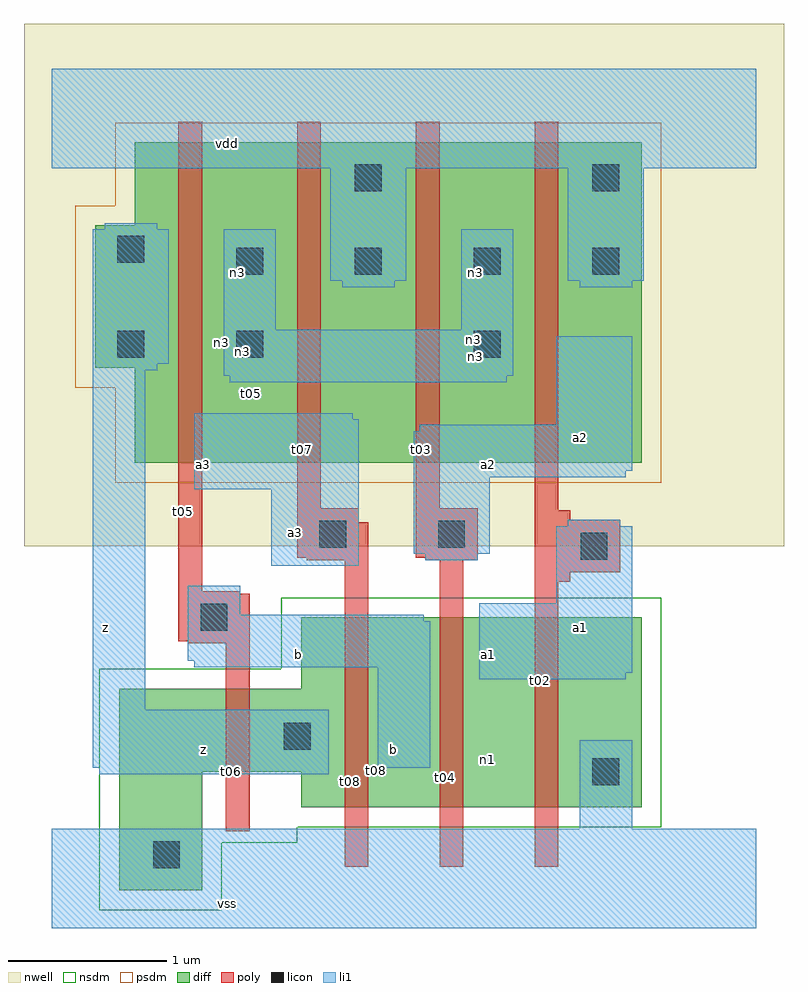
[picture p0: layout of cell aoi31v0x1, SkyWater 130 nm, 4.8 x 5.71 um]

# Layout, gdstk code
import gdstk
lib = gdstk.Library(unit=1e-6, precision=5e-09)
def R(c, l, rs):  # rectangles x0, y0, x1, y1
    for r in rs: c.add(gdstk.rectangle(r[:2], r[2:], *l))
def A(c, l, x, y, w, h, nx, ny, dx, dy):  # array of equal rectangles
    R(c, l, [(x+i*dx, y+j*dy, x+i*dx+w, y+j*dy+h) for i in range(nx) for j in range(ny)])
nwell = (64, 20)
diff = (65, 20)
poly = (66, 20)
licon = (66, 44)
li1 = (67, 20)
nsdm = (93, 44)
psdm = (94, 20)

aoi31v0x1 = lib.new_cell('aoi31v0x1')
R(aoi31v0x1, nwell, [(-0.3,2.4,4.5,5.7)])
R(aoi31v0x1, diff, [(0.3,0.225,0.825,1.5), (1.45,0.75,3.6,1.95), (0.3,0.975,3.6,1.5), (0.4,2.925,3.6,4.95), (0.15,3.525,3.6,4.425)])
R(aoi31v0x1, poly, [(1.725,0.375,1.875,2.55), (2.325,0.375,2.475,2.64), (2.925,0.375,3.075,5.08), (0.975,0.6,1.125,2.1), (0.735,1.785,1.125,2.1), (0.735,1.785,1.065,2.115), (0.675,1.8,1.065,2.115), (0.675,1.8,1.125,2.1), (0.675,1.8,0.825,5.08), (2.925,2.175,3.15,2.625), (2.925,2.235,3.465,2.565), (1.485,2.31,1.815,2.64), (1.485,2.31,1.875,2.55), (2.235,2.31,2.565,2.64), (1.425,2.325,1.815,2.64), (1.425,2.325,1.815,2.64), (1.425,2.325,1.875,2.55), (1.425,2.325,1.575,5.08), (2.175,2.325,2.565,2.64), (2.175,2.325,2.565,2.64), (2.175,2.325,2.325,5.08), (2.175,2.325,2.475,2.64)])
A(aoi31v0x1, licon, 1.04, 4.115, 0.17, 0.17, 4, 1, 0.75, 0)
R(aoi31v0x1, licon, [(0.515,0.365,0.685,0.535), (3.29,0.89,3.46,1.06), (1.34,1.115,1.51,1.285), (0.815,1.865,0.985,2.035), (3.215,2.315,3.385,2.485), (1.565,2.39,1.735,2.56), (2.315,2.39,2.485,2.56), (0.29,3.59,0.46,3.76), (1.04,3.59,1.21,3.76), (2.54,3.59,2.71,3.76), (0.29,4.19,0.46,4.36), (1.79,4.64,1.96,4.81), (3.29,4.64,3.46,4.81)])
R(aoi31v0x1, li1, [(-0.125,-0.015,4.325,0.615), (-0.125,-0.015,4.325,0.615), (3.21,-0.015,3.54,1.175), (0.175,0.96,0.465,4.4), (0.175,0.96,1.625,1.365), (0.21,0.96,0.465,4.44), (0.135,1,0.465,4.4), (0.135,1,1.625,1.365), (1.935,1,2.265,1.925), (1.935,1,2.225,1.965), (0.775,1.035,1.025,1.365), (1.975,1.035,2.225,1.365), (0.135,1.075,0.465,4.325), (2.575,1.56,3.5,2.04), (3.06,1.56,3.5,2.525), (3.135,1.56,3.465,2.565), (2.575,1.6,3.54,2.04), (2.575,1.6,3.54,2.04), (3.06,1.6,3.54,2.525), (0.775,1.635,1.065,2.15), (0.775,1.635,2.265,1.925), (0.775,1.635,2.225,1.965), (1.375,1.635,1.625,1.965), (2.575,1.635,2.825,1.965), (0.735,1.675,1.065,2.15), (0.735,1.675,2.265,1.925), (0.735,1.675,2.225,1.965), (3.135,1.675,3.465,2.525), (1.26,2.275,1.775,3.24), (1.26,2.275,1.815,3.2), (1.335,2.275,1.665,3.125), (2.235,2.31,2.565,3.165), (2.16,2.35,2.64,3.125), (2.2,2.35,2.64,3.165), (0.775,2.76,1.815,3.2), (0.775,2.76,1.775,3.24), (0.775,2.835,1.025,3.165), (2.16,2.835,3.5,3.125), (2.2,2.835,3.5,3.165), (2.575,2.835,2.825,3.165), (3.06,2.835,3.5,3.725), (2.16,2.875,3.54,3.125), (2.2,2.875,3.54,3.165), (3.06,2.875,3.54,3.725), (3.135,2.875,3.465,3.725), (1,3.435,1.29,4.4), (1,3.435,2.75,3.765), (2.46,3.435,2.75,4.4), (0.96,3.475,1.29,4.4), (0.96,3.475,2.79,3.765), (2.46,3.475,2.79,4.4), (0.135,3.51,0.54,4.4), (0.21,3.51,0.54,4.44), (0.135,3.55,0.615,4.4), (1.71,4.035,2.04,5.415), (3.21,4.035,3.54,5.415), (1.635,4.075,2.115,5.415), (3.135,4.075,3.615,5.415), (-0.125,4.785,4.325,5.415), (-0.125,4.785,4.325,5.415)])
R(aoi31v0x1, nsdm, [(0.175,0.1,0.95,1.625), (0.3,0.225,0.75,1.5), (0.3,0.225,0.75,1.5), (0.375,0.225,0.825,1.5), (0.375,0.225,0.825,1.5), (0.455,0.305,0.745,0.595), (0.175,0.525,1.425,1.625), (0.175,0.625,3.725,1.625), (1.325,0.625,3.725,2.075), (1.95,0.75,2.25,1.95), (1.95,0.75,2.25,1.95), (2.55,0.75,2.85,1.95), (2.55,0.75,2.85,1.95), (3.15,0.75,3.6,1.95), (3.15,0.75,3.6,1.95), (3.23,0.83,3.52,1.12), (1.275,0.975,1.575,1.5), (1.275,0.975,1.575,1.5), (1.28,1.055,1.57,1.345)])
A(aoi31v0x1, psdm, 0.98, 4.055, 0.29, 0.29, 4, 1, 0.75, 0)
R(aoi31v0x1, psdm, [(0.275,2.8,3.725,5.075), (0.975,2.925,1.275,4.95), (0.975,2.925,1.275,4.95), (1.725,2.925,2.025,4.95), (1.725,2.925,2.025,4.95), (2.475,2.925,2.775,4.95), (2.475,2.925,2.775,4.95), (3.15,2.925,3.6,4.95), (3.15,2.925,3.6,4.95), (0.025,3.4,3.725,4.55), (0.15,3.525,0.6,4.425), (0.15,3.525,0.6,4.425), (0.23,3.53,0.52,3.82), (0.98,3.53,1.27,3.82), (2.48,3.53,2.77,3.82), (0.23,4.13,0.52,4.42), (1.73,4.58,2.02,4.87), (3.23,4.58,3.52,4.87)])
aoi31v0x1.add(gdstk.Label('t08', (1.925,0.985), layer=93, texttype=44))
aoi31v0x1.add(gdstk.Label('t05', (1.135,3.365), layer=94, texttype=20))
aoi31v0x1.add(gdstk.Label('n3', (0.95,3.685), layer=94, texttype=20))
aoi31v0x1.add(gdstk.Label('t08', (1.985,1.05), layer=65, texttype=20))
aoi31v0x1.add(gdstk.Label('t05', (1.2,3.43), layer=65, texttype=20))
aoi31v0x1.add(gdstk.Label('n3', (1.01,3.75), layer=65, texttype=20))
aoi31v0x1.add(gdstk.Label('n1', (2.625,1.05), layer=93, texttype=44))
aoi31v0x1.add(gdstk.Label('n2', (2.025,1.05), layer=93, texttype=44))
aoi31v0x1.add(gdstk.Label('n3', (2.55,4.125), layer=94, texttype=20))
aoi31v0x1.add(gdstk.Label('n3', (2.55,3.6), layer=94, texttype=20))
aoi31v0x1.add(gdstk.Label('n3', (1.05,4.125), layer=94, texttype=20))
aoi31v0x1.add(gdstk.Label('n3', (1.05,3.6), layer=94, texttype=20))
aoi31v0x1.add(gdstk.Label('t06', (1.01,0.975), layer=66, texttype=20))
aoi31v0x1.add(gdstk.Label('t05', (0.71,2.62), layer=66, texttype=20))
aoi31v0x1.add(gdstk.Label('t08', (1.76,0.915), layer=66, texttype=20))
aoi31v0x1.add(gdstk.Label('t07', (1.46,3.01), layer=66, texttype=20))
aoi31v0x1.add(gdstk.Label('t04', (2.36,0.94), layer=66, texttype=20))
aoi31v0x1.add(gdstk.Label('t03', (2.21,3.01), layer=66, texttype=20))
aoi31v0x1.add(gdstk.Label('t02', (2.96,1.55), layer=66, texttype=20))
aoi31v0x1.add(gdstk.Label('n3', (2.58,4.155), layer=66, texttype=44))
aoi31v0x1.add(gdstk.Label('n3', (2.58,3.63), layer=66, texttype=44))
aoi31v0x1.add(gdstk.Label('n3', (1.08,4.155), layer=66, texttype=44))
aoi31v0x1.add(gdstk.Label('n3', (1.08,3.63), layer=66, texttype=44))
aoi31v0x1.add(gdstk.Label('z', (0.215,1.885), layer=67, texttype=20))
aoi31v0x1.add(gdstk.Label('z', (0.835,1.115), layer=67, texttype=20))
aoi31v0x1.add(gdstk.Label('a3', (0.835,2.915), layer=67, texttype=20))
aoi31v0x1.add(gdstk.Label('n3', (1.04,3.705), layer=67, texttype=20))
aoi31v0x1.add(gdstk.Label('b', (2.035,1.115), layer=67, texttype=20))
aoi31v0x1.add(gdstk.Label('b', (1.435,1.715), layer=67, texttype=20))
aoi31v0x1.add(gdstk.Label('a3', (1.415,2.485), layer=67, texttype=20))
aoi31v0x1.add(gdstk.Label('a1', (2.635,1.715), layer=67, texttype=20))
aoi31v0x1.add(gdstk.Label('a2', (2.635,2.915), layer=67, texttype=20))
aoi31v0x1.add(gdstk.Label('n3', (2.54,3.705), layer=67, texttype=20))
aoi31v0x1.add(gdstk.Label('vss', (0.985,0.14), layer=67, texttype=20))
aoi31v0x1.add(gdstk.Label('a1', (3.215,1.885), layer=67, texttype=20))
aoi31v0x1.add(gdstk.Label('a2', (3.215,3.085), layer=67, texttype=20))
aoi31v0x1.add(gdstk.Label('vdd', (0.985,4.94), layer=67, texttype=20))

lib.write_gds('aoi31v0x1.gds')
